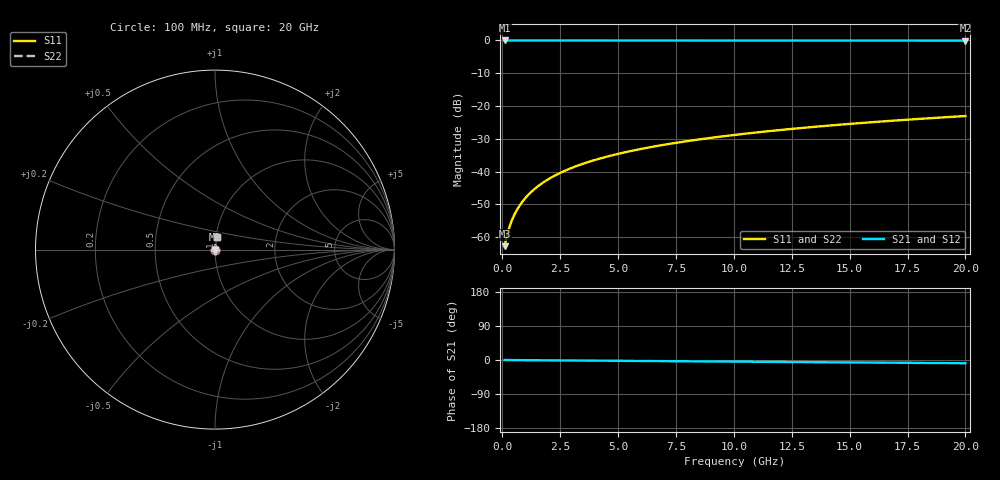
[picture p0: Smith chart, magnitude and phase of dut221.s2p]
! Touchstone file exported from HFSS 2026.1.0
!  File:  C:/ffzhzh/LocalFiles/Ansys_Project_Files/temp_train_BSMRDL_221_1782988058_6248.aedt
!  Generated:  06:28:49 PM Jul  2, 2026
!  Design:  BSMRDL
!  Project:  temp_train_BSMRDL_221_1782988058_6248
! Variables:
!  h_bsmrdl = 5.91um
!  h_ox = 20um
!  h_rdl = 5um
!  h_sub = 80um
!  h_tmrdl = 5um
!  h_tsv = 80um
!  h_via = 3um
!  l_bsmrdl = 116um
!  l_sub = 516um
!  l_tmrdl = 200um
!  m_sub = 200um
!  pitch = 30.21um
!  r_tsv = 6um
!  s_tmrdl = 10um
!  w_bsmrdl = 14.61um
!  w_sub = 500um
!  w_tmrdl = 12um
!  x_tsv_center1 = 206um
!  x_tsv_center2 = 336.61um
!  x_tsv_center3 = 548.61um
!  x_tsv_center4 = 679.22um
!  x_tsv_center5 = 891.22um
!  x_tsv_center6 = 1021.83um
# GHz S MA R 50.000000
! Terminal data exported
! Port[1] = BSM_RDL1_1_T1
! Port[2] = BSM_RDL1_1_T2
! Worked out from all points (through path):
!   200 points, 100 MHz to 20 GHz, reference 50 ohm
!   highest |S21| = -0.01 dB at 100 MHz (marker M1); lowest = 0.0 dB at 20 GHz (marker M2)
!   group delay of S21, straight-line fit = 1.17 ps
!   lowest |S11| = -62.8 dB at 100 MHz (marker M3), VSWR 1.00, Z = 50.1 + j0.0425 ohm
!   |S11| at or under -10 dB: start of sweep to end of sweep
!   |S22| runs from -62.8 to -23.1 dB; largest |S21 - S12| = 3e-15
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0.1  0.0007256 35.8  0.9994 -0.0  0.9994 -0.0  0.0007256 35.8
! Gamma 0 0 0 0
! Port Impedance 50 0 50 0
0.2  0.001039 53.5  0.9994 -0.1  0.9994 -0.1  0.001039 53.5
0.3  0.001392 62.1  0.9994 -0.1  0.9994 -0.1  0.001392 62.1
0.4  0.001752 67.1  0.9993 -0.2  0.9993 -0.2  0.001752 67.1
0.5  0.002115 70.4  0.9993 -0.2  0.9993 -0.2  0.002115 70.4
0.6  0.002478 72.8  0.9993 -0.3  0.9993 -0.3  0.002478 72.8
0.8  0.00321 76.1  0.9992 -0.4  0.9992 -0.4  0.00321 76.1
1.1  0.004319 78.9  0.9992 -0.5  0.9992 -0.5  0.004319 78.9
1.3  0.005062 80.1  0.9992 -0.6  0.9992 -0.6  0.005062 80.1
1.6  0.006179 81.3  0.9991 -0.7  0.9991 -0.7  0.006179 81.3
2.1  0.00804 82.4  0.999 -0.9  0.999 -0.9  0.00804 82.4
2.7  0.01026 83.0  0.9989 -1.2  0.9989 -1.2  0.01026 83.0
3.5  0.01319 83.3  0.9987 -1.5  0.9987 -1.5  0.01319 83.3
4.2  0.01572 83.3  0.9985 -1.8  0.9985 -1.8  0.01572 83.3
5  0.01859 83.2  0.9983 -2.2  0.9983 -2.2  0.01859 83.2
5.9  0.02178 83.1  0.9981 -2.6  0.9981 -2.6  0.02178 83.1
6.8  0.02494 82.9  0.9979 -2.9  0.9979 -2.9  0.02494 82.9
8.3  0.03018 82.6  0.9975 -3.6  0.9975 -3.6  0.03018 82.6
10.1  0.03642 82.1  0.9971 -4.3  0.9971 -4.3  0.03642 82.1
13.4  0.04779 81.2  0.9962 -5.7  0.9962 -5.7  0.04779 81.1
16.7  0.05908 80.1  0.9953 -7.1  0.9953 -7.1  0.05908 80.1
20  0.07028 78.9  0.9943 -8.5  0.9943 -8.5  0.07028 78.9
